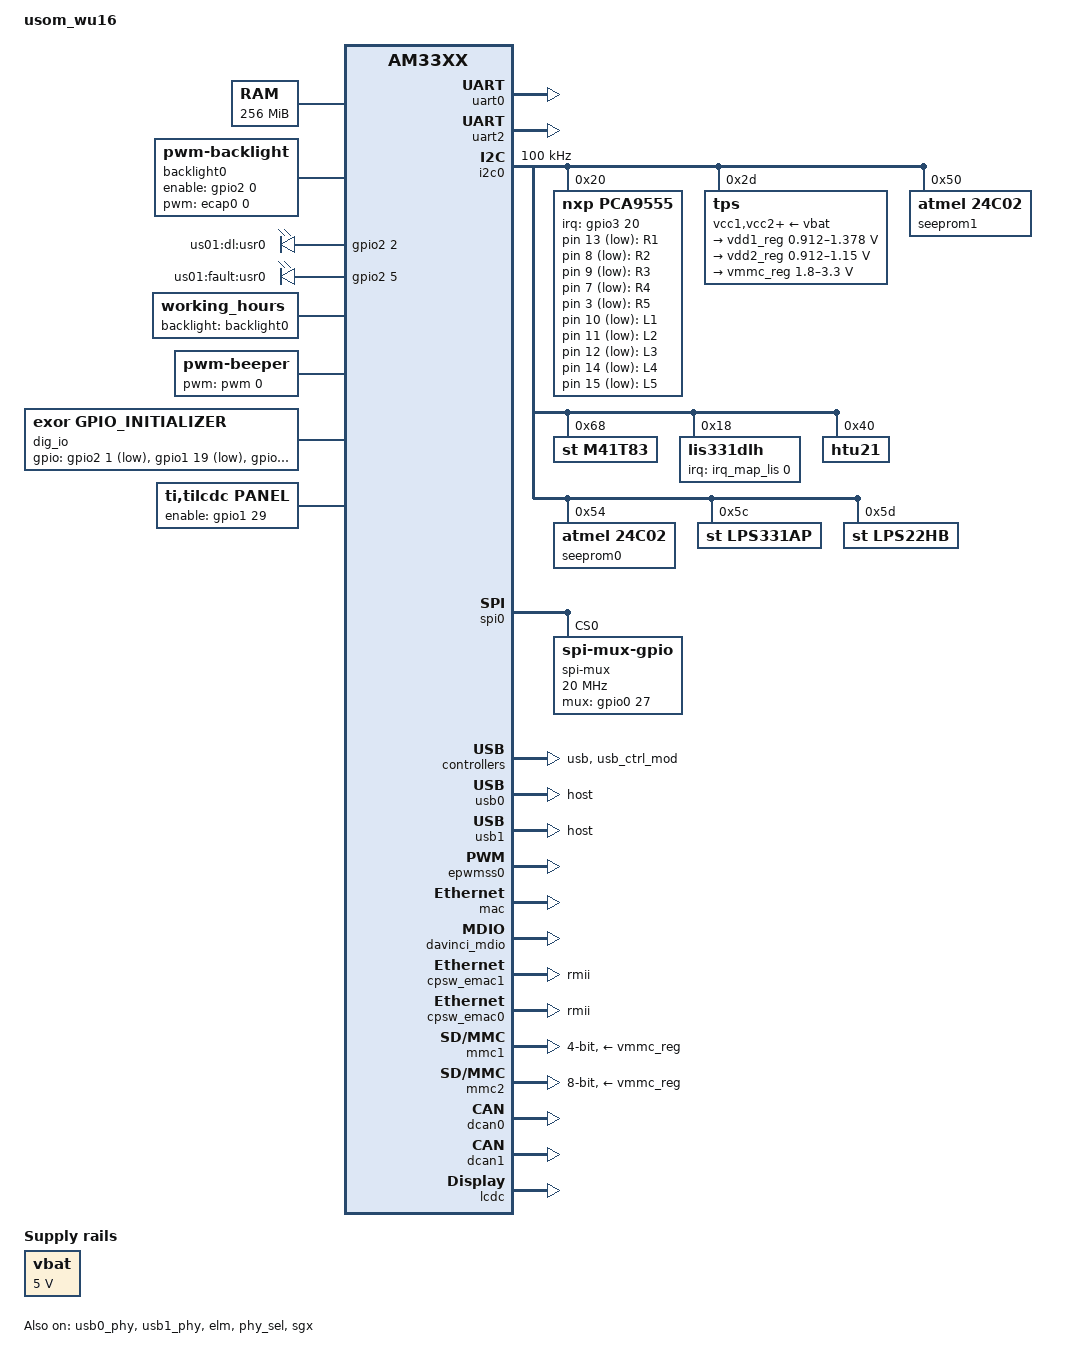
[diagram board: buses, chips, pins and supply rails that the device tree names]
/*
 * Copyright (C) 2012 Texas Instruments Incorporated - http://www.ti.com/
 *
 * This program is free software; you can redistribute it and/or modify
 * it under the terms of the GNU General Public License version 2 as
 * published by the Free Software Foundation.
 */
/dts-v1/;

#include "am33xx.dtsi"
#include <dt-bindings/interrupt-controller/irq.h>

/ {
	model = "usom_wu16";
	compatible = "exor,wu16", "exor,usom01", "ti,am33xx";

	aliases {
		can0 = &dcan0;
		can1 = &dcan1;
	};

	cpus {
		cpu@0 {
			cpu0-supply = <&vdd1_reg>;
		};
	};

	memory@80000000 {
		device_type = "memory";
		reg = <0x80000000 0x10000000>; /* 256 MB */
	};

	gpio_buttons: gpio_buttons@0 {
		compatible = "gpio-keys";
		#address-cells = <1>;
		#size-cells = <0>;

		button@1 {
			label = "R1";
			linux,code = <59>; /* KEY_F1 */
			gpios = <&pca9555 13 GPIO_ACTIVE_LOW>;
		};

		button@2 {
			label = "R2";
			linux,code = <60>; /* KEY_F2 */
			gpios = <&pca9555 8 GPIO_ACTIVE_LOW>;
		};

		button@3 {
			label = "R3";
			linux,code = <61>; /* KEY_F3 */
			gpios = <&pca9555 9 GPIO_ACTIVE_LOW>;
		};

		button@4 {
			label = "R4";
			linux,code = <62>; /* KEY_F4 */
			gpios = <&pca9555 7 GPIO_ACTIVE_LOW>;
		};

		button@5 {
			label = "R5";
			linux,code = <63>; /* KEY_F5 */
			gpios = <&pca9555 3 GPIO_ACTIVE_LOW>;
		};

		button@6 {
			label = "L1";
			linux,code = <64>; /* KEY_F6 */
			gpios = <&pca9555 10 GPIO_ACTIVE_LOW>;
		};

		button@7 {
			label = "L2";
			linux,code = <65>; /* KEY_F7 */
			gpios = <&pca9555 11 GPIO_ACTIVE_LOW>;
		};

		button@8 {
			label = "L3";
			linux,code = <66>; /* KEY_F8 */
			gpios = <&pca9555 12 GPIO_ACTIVE_LOW>;
		};

		button@9 {
			label = "L4";
			linux,code = <67>; /* KEY_F9 */
			gpios = <&pca9555 14 GPIO_ACTIVE_LOW>;
		};

		button@10 {
			label = "L5";
			linux,code = <68>; /* KEY_F10 */
			gpios = <&pca9555 15 GPIO_ACTIVE_LOW>;
		};
	};

	chosen {
		stdout-path = &uart0;
	};

	vbat: fixedregulator@0 {
		compatible = "regulator-fixed";
		regulator-name = "vbat";
		regulator-min-microvolt = <5000000>;
		regulator-max-microvolt = <5000000>;
		regulator-boot-on;
	};

	backlight0: backlight {
		compatible = "pwm-backlight";
		pwms = <&ecap0 0 50000 0>;
		brightness-levels = <0 4 8 12 16 20 24 28 32 36 40 44 48 52 56 60 64 68 72 76 80 84 88 92 96 100>;
		default-brightness-level = <0>;
		enable-gpios = <&gpio2 0 0>;
	};

	leds {
		pinctrl-names = "default";
		pinctrl-0 = <&user_leds_default>;

		compatible = "gpio-leds";

		led@1 {
			label = "us01:dl:usr0";
			gpios = <&gpio2 2 GPIO_ACTIVE_HIGH>;
			default-state = "on";
		};

		led@2 {
			label = "us01:fault:usr0";
			gpios = <&gpio2 5 GPIO_ACTIVE_HIGH>;
			default-state = "off";
		};
	};

	pwm: omap-pwm {
		compatible = "ti,omap-dmtimer-pwm";
		ti,timers = <&timer6>;
		#pwm-cells = <3>;
	};

	working_hours {
		compatible = "working_hours";
		nvmem-names = "eeprom", "rtcnvram";
		nvmem = <&seeprom0>, <&m41t83>;
		backlight = <&backlight0>;
		status = "okay";
	};

	beeper {
		compatible = "pwm-beeper";
		pwms = <&pwm 0 50000 0>;
	};

	dig_io:dig_io {
		compatible = "exor,gpio_initializer";
		pinctrl-names = "default";

		gpios = <&gpio2 1  0x21>, <&gpio1 19 0x21>, <&gpio3 15 0x21>, <&gpio3 16 0x21>, <&gpio3 17 0x21>, <&gpio3 21 0x21>,
		        <&gpio3 14 0x20>, <&gpio1 18 0x20>, <&gpio2 18 0x20>, <&gpio2 19 0x20>, <&gpio2 20 0x20>, <&gpio2 21 0x20>;

		gpio-names = "flt12", "flt34", "in1",  "in2",  "in3",  "in4",
		             "en12",  "en34",  "out1", "out2", "out3", "out4";
	};

	panel {
		compatible = "ti,tilcdc,panel";
		status = "okay";
		pinctrl-names = "default";
		pinctrl-0 = <&lcd_pins_default>;
		enable-gpio = <&gpio1 29 0>;
		panel-info {
			ac-bias           = <255>;
			ac-bias-intrpt    = <0>;
			dma-burst-sz      = <16>;
			bpp               = <16>;
			fdd               = <0x80>;
			sync-edge         = <0>;
			sync-ctrl         = <1>;
			raster-order      = <0>;
			fifo-th           = <0>;
		};

		display-timings {
			800x480p62 {
				clock-frequency = <30000000>;
				hactive = <800>;
				vactive = <480>;
				hfront-porch = <39>;
				hback-porch = <39>;
				hsync-len = <47>;
				vback-porch = <29>;
				vfront-porch = <13>;
				vsync-len = <2>;
				hsync-active = <1>;
				vsync-active = <1>;
			};
		};
	};

};

&uart0 {
	pinctrl-names = "default";
	pinctrl-0 = <&uart0_pins>;
	rts-gpio = <&gpio1 6 0>;
	mode-gpio = <&gpio1 7 0>;
	rxen-gpio = <&gpio1 5 0>;
	rs485-rts-active-high;
	mode-two-lines-only;
	status = "okay";
};

&uart2 {
	pinctrl-names = "default";
	pinctrl-0 = <&uart2_pins>;
	status = "okay";
};

&i2c0 {
	pinctrl-names = "default";
	pinctrl-0 = <&i2c0_pins>;

	status = "okay";
	clock-frequency = <100000>;
	/* Set OPP50 (0.95V) for VDD core */
	sleep-sequence = /bits/ 8 <
		0x02 0x2d 0x25 0x1f /* Set VDD2 to 0.95V */
	>;

	/* Set OPP100 (1.10V) for VDD core */
	wake-sequence = /bits/ 8 <
		0x02 0x2d 0x25 0x2b /* Set VDD2 to 1.1V */
	>;

/*
 * USOM I2C DEVICES
 */
	pca9555: pca9555@20 {
		/* I/O expander uSom */
		compatible = "nxp,pca9555";
		interrupt-parent = <&gpio3>;
		interrupts = <20 0x8>;
		gpio-controller;
		#gpio-cells = <2>;
		interrupt-controller;
		#interrupt-cells = <2>;
		reg = <0x20>;
		restart-if-fails;
	};

	tps: tps@2d {
		/* Chip alimentazioni uSom */
		reg = <0x2d>;
	};

	seeprom1:seeprom1@50 {
		/* seeprom1 uSom */
		compatible = "atmel,24c02";
		reg = <0x50>;
	};

	m41t83:m41t83@68 {
		/* RTC uSom */
		compatible = "st,m41t83";
		reg = <0x68>;
	};
/*
 * CARRIER I2C DEVICES
 */
	lis331dlh@18 {
		/* Accelerometer sensor Carrier */
		compatible = "lis331dlh";
		reg = <0x18>;
		interrupt-parent = <&irq_map_lis>;
		interrupts = <0>;

		irq_map_lis: irq-map {
			#interrupt-cells = <1>;
			#address-cells = <0>;
			#size-cells = <0>;
			interrupt-map = <0 &gpio3 19 0>;
		};
	};

	htu21:htu21@40 {
		/* temp0/Humidity Carrier */
		compatible = "htu21";
		reg = <0x40>;
	};

	seeprom0:seeprom0@54 {
		/* seeprom0 Carrier */
		compatible = "atmel,24c02";
		reg = <0x54>;
	};

	lps331ap@5c {
		/* Pressure sensor LPS331AP */
		compatible = "st,lps331ap";
		reg = <0x5c>;
	};

	lps22hb@5d {
		/* Pressure sensor LPS22HB */
		compatible = "st,lps22hb";
		reg = <0x5d>;
	};
/*
 * END I2C DEVICES
 */
};

&spi0 {
	pinctrl-names = "default";
	pinctrl-0 = <&spi0_pins>;
	bus-num = <0>;
	status = "okay";

	spi-mux {
		compatible = "spi-mux-gpio";
		#address-cells = <1>;
		#size-cells = <0>;
		reg = <0>;
		spi-max-frequency = <20000000>;
		mux-gpios = <&gpio0 27 0>;

		tja1145: tja1145@0 {
			compatible = "nxp,tja1145";
			reg = <0>;
			spi-cpha;
			spi-max-frequency = <500000>;
		};

		fram: at25@3 {
			compatible = "atmel,at25", "st,m95256";
			reg = <1>;
			spi-max-frequency = <20000000>;
			pagesize = <64>;
			size = <65536>;
			address-width = <16>;
		};
	};
};

&usb {
	status = "okay";
};

&usb_ctrl_mod {
	status = "okay";
};

&usb0_phy {
	status = "okay";
};

&usb1_phy {
	status = "okay";
};

&usb0 {
	status = "okay";
	dr_mode = "host";
};

&usb1 {
	status = "okay";
	dr_mode = "host";
};

&cppi41dma  {
	status = "okay";
};

&elm {
	status = "okay";
};

&epwmss0 {
	status = "okay";

	ecap0: ecap@48300100 {
		status = "okay";
		pinctrl-names = "default";
		pinctrl-0 = <&pwm0_dimm_pins_default>;
	};
};

#include "tps65910.dtsi"

&tps {
	vcc1-supply = <&vbat>;
	vcc2-supply = <&vbat>;
	vcc3-supply = <&vbat>;
	vcc4-supply = <&vbat>;
	vcc5-supply = <&vbat>;
	vcc6-supply = <&vbat>;
	vcc7-supply = <&vbat>;
	vccio-supply = <&vbat>;

	regulators {
		vrtc_reg: regulator@0 {
			regulator-always-on;
		};

		vio_reg: regulator@1 {
			regulator-always-on;
		};

		vdd1_reg: regulator@2 {
			/* VDD_MPU voltage limits 0.95V - 1.325V with +/-4% tolerance */
			regulator-name = "vdd_mpu";
			regulator-min-microvolt = <912500>;
			regulator-max-microvolt = <1378000>;
			regulator-boot-on;
			regulator-always-on;
		};

		vdd2_reg: regulator@3 {
			/* VDD_CORE voltage limits 0.95V - 1.1V with +/-4% tolerance */
			regulator-name = "vdd_core";
			regulator-min-microvolt = <912500>;
			regulator-max-microvolt = <1150000>;
			regulator-boot-on;
			regulator-always-on;
		};

		vdd3_reg: regulator@4 {
			regulator-always-on;
		};

		vdig1_reg: regulator@5 {
			regulator-always-on;
		};

		vdig2_reg: regulator@6 {
			regulator-always-on;
		};

		vpll_reg: regulator@7 {
			regulator-always-on;
		};

		vdac_reg: regulator@8 {
			regulator-always-on;
		};

		vaux1_reg: regulator@9 {
			regulator-always-on;
		};

		vaux2_reg: regulator@10 {
			regulator-always-on;
		};

		vaux33_reg: regulator@11 {
			regulator-always-on;
		};

		vmmc_reg: regulator@12 {
			regulator-min-microvolt = <1800000>;
			regulator-max-microvolt = <3300000>;
			regulator-always-on;
		};
	};
};

&mac {
	slaves = <2>;
	pinctrl-names = "default";
	pinctrl-0 = <&rmii2_pins_default>;
	dual_emac;
    only_emac1;
	status = "okay";
};

&davinci_mdio {
	pinctrl-names = "default";
	pinctrl-0 = <&mdio_pins_default>;
	status = "okay";
};

&cpsw_emac1 {
	phy_id = <&davinci_mdio>, <1>;
	phy-mode = "rmii";
	status = "okay";
};

&cpsw_emac0 {
	phy_id = <&davinci_mdio>, <2>;
	phy-mode = "rmii";
	status = "okay";
};

&phy_sel {
	rmii-clock-ext;
	status = "okay";
};

&mmc1 {
	status = "okay";
	vmmc-supply = <&vmmc_reg>;
	bus-width = <4>;
	pinctrl-names = "default";
	pinctrl-0 = <&mmc1_pins_default>;
};

&mmc2 {
	vmmc-supply = <&vmmc_reg>;
	pinctrl-names = "default";
	pinctrl-0 = <&emmc_pins>;
	bus-width = <8>;
	ti,non-removable;
	status = "okay";
};

&edma {
	ti,edma-xbar-event-map = <1 12 2 13>;
};

&dcan0 {
	pinctrl-names = "default";
	pinctrl-0 = <&dcan0_pins_default>;
	transceiver = <&tja1145>;
	status = "okay";
};

&dcan1 {
	pinctrl-names = "default";
	pinctrl-0 = <&dcan1_pins_default>;
	stb-gpio = <&pca9555 6 0>;
	status = "okay";
};

&lcdc {
	status = "okay";
};

&sgx {
	status = "okay";
};

&am33xx_pinmux {
	pinctrl-names = "default";
	pinctrl-0 = <&lcd_pins_enable &buzzer_pins_enable &gpio_pins_default>;

	i2c0_pins: pinmux_i2c0_pins {
		pinctrl-single,pins = <
			AM33XX_IOPAD(0x98c, PIN_INPUT | MUX_MODE0) /* (C16) I2C0_SCL.I2C0_SCL */
			AM33XX_IOPAD(0x988, PIN_INPUT | MUX_MODE0) /* (C17) I2C0_SDA.I2C0_SDA */
		>;
	};

	spi0_pins: pinmux_spi0_pins {
		pinctrl-single,pins = <
			AM33XX_IOPAD(0x950, PIN_INPUT | MUX_MODE0) /* (A17) spi0_sclk.spi0_sclk */
			AM33XX_IOPAD(0x954, PIN_INPUT | MUX_MODE0) /* (B17) spi0_d0.spi0_d0 */
			AM33XX_IOPAD(0x958, PIN_INPUT | MUX_MODE0) /* (B16) spi0_d1.spi0_d1 */
			AM33XX_IOPAD(0x95c, PIN_INPUT | MUX_MODE0) /* (A16) spi0_cs0.spi0_cs0 */
			AM33XX_IOPAD(0x960, PIN_INPUT | MUX_MODE0) /* (C15) spi0_cs1.spi0_cs1 */
			AM33XX_IOPAD(0x828, PIN_INPUT | MUX_MODE7) /* (T11) gpmc_ad10.gpio0[26] */
			AM33XX_IOPAD(0x82c, PIN_INPUT | MUX_MODE7) /* (U12) gpmc_ad11.gpio0[27] */
			AM33XX_IOPAD(0x824, PIN_INPUT | MUX_MODE7) /* (T10) gpmc_ad9.gpio0[23] */

		>;
	};

	uart0_pins: pinmux_uart0_pins {
		pinctrl-single,pins = <
			AM33XX_IOPAD(0x970, PIN_INPUT | MUX_MODE0) /* (E15) uart0_rxd.uart0_rxd */
			AM33XX_IOPAD(0x974, PIN_OUTPUT | MUX_MODE0) /* (E16) uart0_txd.uart0_txd */
			AM33XX_IOPAD(0x814, PIN_INPUT | MUX_MODE7) /* (V8) gpmc_ad5.gpio1[5] rxen */
			AM33XX_IOPAD(0x818, PIN_INPUT | MUX_MODE7) /* (R9) gpmc_ad6.gpio1[6] dxen */
			AM33XX_IOPAD(0x81c, PIN_INPUT | MUX_MODE7) /* (T9) gpmc_ad7.gpio1[7] mode_rs485/rs232* */
		>;
	};

	uart2_pins: pinmux_uart2_pins {
		pinctrl-single,pins = <
			AM33XX_IOPAD(0x92c, PIN_INPUT | MUX_MODE1) /* (K18) gmii1_txclk.uart2_rxd */
			AM33XX_IOPAD(0x930, PIN_OUTPUT | MUX_MODE1) /* (L18) gmii1_rxclk.uart2_txd */
		>;
	};

	pwm0_dimm_pins_default: backlight_pins {
		pinctrl-single,pins = <
			AM33XX_IOPAD(0x964, PIN_OUTPUT | MUX_MODE0) /* (C18) eCAP0_in_PWM0_out.eCAP0_in_PWM0_out */
		>;
	};

	rmii2_pins_default: rmii2_pins_default {
		pinctrl-single,pins = <
			AM33XX_IOPAD(0x870, PIN_INPUT | MUX_MODE3) /* (T17) gpmc_wait0.rmii2_crs_dv */
			AM33XX_IOPAD(0x874, PIN_INPUT | MUX_MODE3) /* (U17) gpmc_wpn.rmii2_rxer */
			AM33XX_IOPAD(0x840, PIN_OUTPUT | MUX_MODE3) /* (R13) gpmc_a0.rmii2_txen */
			AM33XX_IOPAD(0x854, PIN_OUTPUT | MUX_MODE3) /* (V15) gpmc_a5.rmii2_txd0 */
			AM33XX_IOPAD(0x850, PIN_OUTPUT | MUX_MODE3) /* (R14) gpmc_a4.rmii2_txd1 */
			AM33XX_IOPAD(0x86c, PIN_INPUT | MUX_MODE3) /* (V17) gpmc_a11.rmii2_rxd0 */
			AM33XX_IOPAD(0x868, PIN_INPUT | MUX_MODE3) /* (T16) gpmc_a10.rmii2_rxd1 */
			AM33XX_IOPAD(0x908, PIN_INPUT | MUX_MODE1) /* (H16) gmii1_col.rmii2_refclk */
		>;
	};

	mdio_pins_default: pinmux_mdio_pins {
		pinctrl-single,pins = <
			/* MDIO */
			AM33XX_IOPAD(0x94c, PIN_OUTPUT_PULLUP | MUX_MODE0) /* (M18) mdio_clk.mdio_clk */
			AM33XX_IOPAD(0x948, PIN_INPUT_PULLUP | SLEWCTRL_FAST | MUX_MODE0) /* (M17) mdio_data.mdio_data */
		>;
	};

	mmc1_pins_default: pinmux_mmc1_pins {
		pinctrl-single,pins = <
			AM33XX_IOPAD(0x900, PIN_INPUT | MUX_MODE0) /* (G17) mmc0_clk.mmc0_clk */
			AM33XX_IOPAD(0x904, PIN_INPUT | MUX_MODE0) /* (G18) mmc0_cmd.mmc0_cmd */
			AM33XX_IOPAD(0x8fc, PIN_INPUT | MUX_MODE0) /* (G16) mmc0_dat0.mmc0_dat0 */
			AM33XX_IOPAD(0x8f8, PIN_INPUT | MUX_MODE0) /* (G15) mmc0_dat1.mmc0_dat1 */
			AM33XX_IOPAD(0x8f4, PIN_INPUT | MUX_MODE0) /* (F18) mmc0_dat2.mmc0_dat2 */
			AM33XX_IOPAD(0x8f0, PIN_INPUT | MUX_MODE0) /* (F17) mmc0_dat3.mmc0_dat3 */
		>;
	};

	emmc_pins: pinmux_emmc_pins {
		pinctrl-single,pins = <
			AM33XX_IOPAD(0x880, PIN_INPUT_PULLUP | MUX_MODE2) /* (U9) gpmc_csn1.mmc1_clk */
			AM33XX_IOPAD(0x884, PIN_INPUT_PULLUP | MUX_MODE2) /* (V9) gpmc_csn2.mmc1_cmd */
			AM33XX_IOPAD(0x800, PIN_INPUT_PULLUP | MUX_MODE1) /* (U7) gpmc_ad0.mmc1_dat0 */
			AM33XX_IOPAD(0x804, PIN_INPUT_PULLUP | MUX_MODE1) /* (V7) gpmc_ad1.mmc1_dat1 */
			AM33XX_IOPAD(0x808, PIN_INPUT_PULLUP | MUX_MODE1) /* (R8) gpmc_ad2.mmc1_dat2 */
			AM33XX_IOPAD(0x80c, PIN_INPUT_PULLUP | MUX_MODE1) /* (T8) gpmc_ad3.mmc1_dat3 */
			AM33XX_IOPAD(0x830, PIN_INPUT_PULLUP | MUX_MODE2) /* (T12) gpmc_ad12.mmc1_dat4 */
			AM33XX_IOPAD(0x834, PIN_INPUT_PULLUP | MUX_MODE2) /* (R12) gpmc_ad13.mmc1_dat5 */
			AM33XX_IOPAD(0x838, PIN_INPUT_PULLUP | MUX_MODE2) /* (V13) gpmc_ad14.mmc1_dat6 */
			AM33XX_IOPAD(0x83C, PIN_INPUT_PULLUP | MUX_MODE2) /* (U13) gpmc_ad15.mmc1_dat7 */
		>;
	};

	lcd_pins_enable: pinmux_lcd_pins_enable {
		pinctrl-single,pins = <
			AM33XX_IOPAD(0x87c, PIN_OUTPUT | MUX_MODE7) /* (V6) gpmc_csn0.gpio1[29] EN_VDD*/
			AM33XX_IOPAD(0x888, PIN_INPUT | MUX_MODE7) /* (T13) gpmc_csn3.gpio2[0] EN_BL */
		>;
	};

	gpio_pins_default: pinmux_gpio_pins {
		pinctrl-single,pins = <
			AM33XX_IOPAD(0x848, PIN_OUTPUT | MUX_MODE7) /* (U14) gpmc_a2.gpio1[18] EN34*/
			AM33XX_IOPAD(0x84c, PIN_INPUT | MUX_MODE7) /* (T14) gpmc_a3.gpio1[19] FLT34*/
			AM33XX_IOPAD(0x88c, PIN_INPUT | MUX_MODE7) /* (V12) gpmc_clk.gpio2[1] FLT12*/
			AM33XX_IOPAD(0x934, PIN_OUTPUT | MUX_MODE7) /* (L17) gmii1_rxd3.gpio2[18] OUT1*/
			AM33XX_IOPAD(0x938, PIN_OUTPUT | MUX_MODE7) /* (L16) gmii1_rxd2.gpio2[19] OUT2*/
			AM33XX_IOPAD(0x93c, PIN_OUTPUT | MUX_MODE7) /* (L15) gmii1_rxd1.gpio2[20] OUT3*/
			AM33XX_IOPAD(0x940, PIN_OUTPUT | MUX_MODE7) /* (M16) gmii1_rxd0.gpio2[21] OUT4*/
			AM33XX_IOPAD(0x990, PIN_OUTPUT | MUX_MODE7) /* (A13) mcasp0_aclkx.gpio3[14] EN12*/
			AM33XX_IOPAD(0x968, PIN_OUTPUT | MUX_MODE7) /* (E18) uart0_ctsn.gpio1[8] WIFI_RST*/
			AM33XX_IOPAD(0x96c, PIN_OUTPUT | MUX_MODE7) /* (E17) uart0_rtsn.gpio1[9] WIFI_WAKE*/

			AM33XX_IOPAD(0x994, PIN_INPUT | MUX_MODE7) /* (B13) mcasp0_fsx.gpio3[15] IN2*/
			AM33XX_IOPAD(0x998, PIN_INPUT | MUX_MODE7) /* (D12) mcasp0_axr0.gpio3[16] IN3*/
			AM33XX_IOPAD(0x99c, PIN_INPUT | MUX_MODE7) /* (C12) mcasp0_ahclkr.gpio3[17] IN1*/
			AM33XX_IOPAD(0x9ac, PIN_INPUT | MUX_MODE7) /* (A14) mcasp0_ahclkx.gpio3[21] IN4*/
		>;
	};

	buzzer_pins_enable: pinmux_buzzer_pins_enable {
		pinctrl-single,pins = <
			AM33XX_IOPAD(0x898, PIN_OUTPUT | MUX_MODE2) /* (U6) gpmc_wen.timer6 */
		>;
	};

	dcan0_pins_default: dcan0_pins_default {
		pinctrl-single,pins = <
			AM33XX_IOPAD(0x920, PIN_INPUT | MUX_MODE1) /* (K15) gmii1_txd2.dcan0_rx */
			AM33XX_IOPAD(0x91c, PIN_OUTPUT | MUX_MODE1) /* (J18) gmii1_txd3.dcan0_tx */
		>;
	};

	dcan1_pins_default: dcan1_pins_default {
		pinctrl-single,pins = <
			AM33XX_IOPAD(0x984, PIN_INPUT | MUX_MODE2) /* (D15) uart1_txd.dcan1_rx */
			AM33XX_IOPAD(0x980, PIN_OUTPUT | MUX_MODE2) /* (D16) uart1_rxd.dcan1_tx */
		>;
	};

	user_leds_default: user_leds_default {
		pinctrl-single,pins = <
			AM33XX_IOPAD(0x890, PIN_OUTPUT_PULLDOWN | MUX_MODE7) /* (R7) gpmc_advn_ale.gpio2[2] */
			AM33XX_IOPAD(0x89c, PIN_OUTPUT_PULLDOWN | MUX_MODE7) /* (T6) gpmc_be0n_cle.gpio2[5] */
		>;
	};

	lcd_pins_default: lcd_pins_default {
		pinctrl-single,pins = <
			AM33XX_IOPAD(0x8a0, PIN_OUTPUT | MUX_MODE0) /* (R1) lcd_data0.lcd_data0 */
			AM33XX_IOPAD(0x8a4, PIN_OUTPUT | MUX_MODE0) /* (R2) lcd_data1.lcd_data1 */
			AM33XX_IOPAD(0x8a8, PIN_OUTPUT | MUX_MODE0) /* (R3) lcd_data2.lcd_data2 */
			AM33XX_IOPAD(0x8ac, PIN_OUTPUT | MUX_MODE0) /* (R4) lcd_data3.lcd_data3 */
			AM33XX_IOPAD(0x8b0, PIN_OUTPUT | MUX_MODE0) /* (T1) lcd_data4.lcd_data4 */
			AM33XX_IOPAD(0x8b4, PIN_OUTPUT | MUX_MODE0) /* (T2) lcd_data5.lcd_data5 */
			AM33XX_IOPAD(0x8b8, PIN_OUTPUT | MUX_MODE0) /* (T3) lcd_data6.lcd_data6 */
			AM33XX_IOPAD(0x8bc, PIN_OUTPUT | MUX_MODE0) /* (T4) lcd_data7.lcd_data7 */
			AM33XX_IOPAD(0x8c0, PIN_OUTPUT | MUX_MODE0) /* (U1) lcd_data8.lcd_data8 */
			AM33XX_IOPAD(0x8c4, PIN_OUTPUT | MUX_MODE0) /* (U2) lcd_data9.lcd_data9 */
			AM33XX_IOPAD(0x8c8, PIN_OUTPUT | MUX_MODE0) /* (U3) lcd_data10.lcd_data10 */
			AM33XX_IOPAD(0x8cc, PIN_OUTPUT | MUX_MODE0) /* (U4) lcd_data11.lcd_data11 */
			AM33XX_IOPAD(0x8d0, PIN_OUTPUT | MUX_MODE0) /* (V2) lcd_data12.lcd_data12 */
			AM33XX_IOPAD(0x8d4, PIN_OUTPUT | MUX_MODE0) /* (V3) lcd_data13.lcd_data13 */
			AM33XX_IOPAD(0x8d8, PIN_OUTPUT | MUX_MODE0) /* (V4) lcd_data14.lcd_data14 */
			AM33XX_IOPAD(0x8dc, PIN_OUTPUT | MUX_MODE0) /* (T5) lcd_data15.lcd_data15 */
			AM33XX_IOPAD(0x8e0, PIN_OUTPUT | MUX_MODE0) /* (U5) lcd_vsync.lcd_vsync */
			AM33XX_IOPAD(0x8e4, PIN_OUTPUT | MUX_MODE0) /* (R5) lcd_hsync.lcd_hsync */
			AM33XX_IOPAD(0x8e8, PIN_OUTPUT | MUX_MODE0) /* (V5) lcd_pclk.lcd_pclk */
			AM33XX_IOPAD(0x8ec, PIN_OUTPUT | MUX_MODE0) /* (R6) lcd_ac_bias_en.lcd_ac_bias_en */
		>;
	};

};
